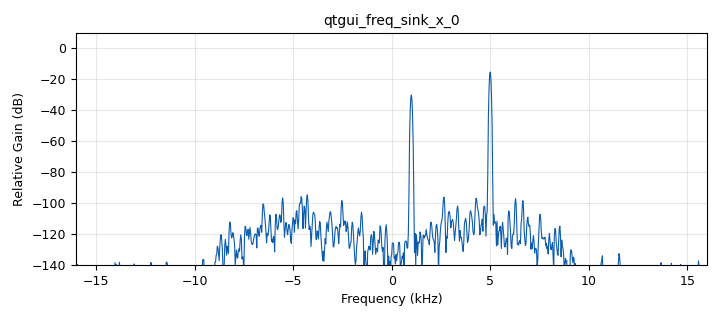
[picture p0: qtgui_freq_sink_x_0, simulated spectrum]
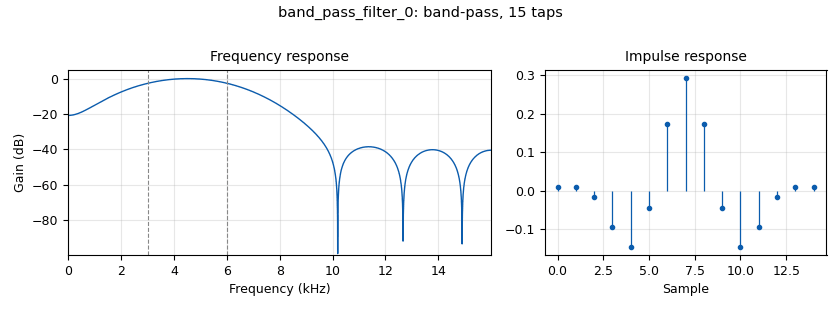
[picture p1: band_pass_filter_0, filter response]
<?xml version='1.0' encoding='utf-8'?>
<?grc format='1' created='3.7.11'?>
<flow_graph>
<block>
<key>options</key>
<param><key>id</key><value>top_block</value></param>
<param><key>generate_options</key><value>qt_gui</value></param>
</block>
<block>
<key>variable</key>
<param><key>id</key><value>samp_rate</value></param>
<param><key>value</key><value>32000</value></param>
</block>
<block>
<key>analog_sig_source_x</key>
<param><key>id</key><value>analog_sig_source_x_0</value></param>
<param><key>amp</key><value>1</value></param>
<param><key>freq</key><value>1000</value></param>
<param><key>offset</key><value>0</value></param>
<param><key>type</key><value>complex</value></param>
<param><key>samp_rate</key><value>samp_rate</value></param>
<param><key>waveform</key><value>analog.GR_COS_WAVE</value></param>
</block>
<block>
<key>analog_sig_source_x</key>
<param><key>id</key><value>analog_sig_source_x_0_0</value></param>
<param><key>amp</key><value>1</value></param>
<param><key>freq</key><value>5000</value></param>
<param><key>offset</key><value>0</value></param>
<param><key>type</key><value>complex</value></param>
<param><key>samp_rate</key><value>samp_rate</value></param>
<param><key>waveform</key><value>analog.GR_COS_WAVE</value></param>
</block>
<block>
<key>band_pass_filter</key>
<param><key>id</key><value>band_pass_filter_0</value></param>
<param><key>decim</key><value>1</value></param>
<param><key>type</key><value>fir_filter_ccf</value></param>
<param><key>gain</key><value>1</value></param>
<param><key>high_cutoff_freq</key><value>6e3</value></param>
<param><key>low_cutoff_freq</key><value>3e3</value></param>
<param><key>samp_rate</key><value>samp_rate</value></param>
<param><key>width</key><value>5e3</value></param>
<param><key>win</key><value>firdes.WIN_HAMMING</value></param>
</block>
<block>
<key>blocks_add_xx</key>
<param><key>id</key><value>blocks_add_xx_0</value></param>
<param><key>type</key><value>complex</value></param>
</block>
<block>
<key>channels_fading_model</key>
<param><key>id</key><value>channels_fading_model_0</value></param>
<param><key>LOS</key><value>False</value></param>
<param><key>fDTs</key><value>10.0/samp_rate</value></param>
<param><key>N</key><value>8</value></param>
<param><key>seed</key><value>0</value></param>
</block>
<block>
<key>qtgui_freq_sink_x</key>
<param><key>id</key><value>qtgui_freq_sink_x_0</value></param>
<param><key>bw</key><value>samp_rate</value></param>
<param><key>fc</key><value>0</value></param>
<param><key>fftsize</key><value>1024</value></param>
<param><key>showports</key><value>True</value></param>
<param><key>type</key><value>complex</value></param>
<param><key>wintype</key><value>firdes.WIN_BLACKMAN_hARRIS</value></param>
</block>
<connection><source_block_id>analog_sig_source_x_0</source_block_id><sink_block_id>blocks_add_xx_0</sink_block_id><source_key>0</source_key><sink_key>0</sink_key></connection>
<connection><source_block_id>analog_sig_source_x_0_0</source_block_id><sink_block_id>blocks_add_xx_0</sink_block_id><source_key>0</source_key><sink_key>1</sink_key></connection>
<connection><source_block_id>band_pass_filter_0</source_block_id><sink_block_id>qtgui_freq_sink_x_0</sink_block_id><source_key>0</source_key><sink_key>0</sink_key></connection>
<connection><source_block_id>blocks_add_xx_0</source_block_id><sink_block_id>channels_fading_model_0</sink_block_id><source_key>0</source_key><sink_key>0</sink_key></connection>
<connection><source_block_id>channels_fading_model_0</source_block_id><sink_block_id>band_pass_filter_0</sink_block_id><source_key>0</source_key><sink_key>0</sink_key></connection>
</flow_graph>
